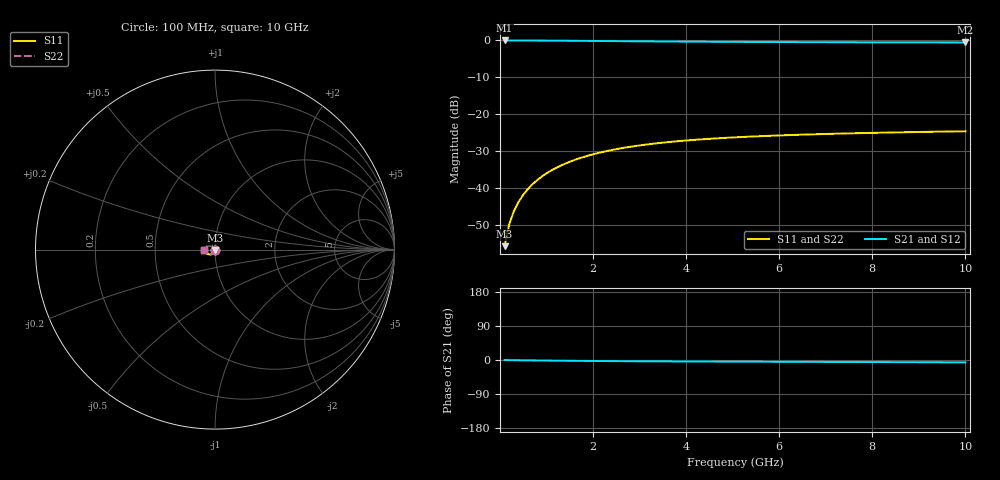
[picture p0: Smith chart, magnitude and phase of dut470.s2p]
! Touchstone file exported from HFSS 2024.1.0
!  File:  C:/UserFiles/LocalFiles/RDL_TSV_Batchsim/temp_TSV1_470_1779698374.aedt
!  Generated:  04:45:05 PM May 25, 2026
!  Design:  TSV1
!  Project:  temp_TSV1_470_1779698374
!  Setup:  Setup1
!  Solution:  Sweep
! Variables:
!  dtsv = 11.05um
!  hbump = 3um
!  htsv = 97.65um
!  lrdl = 252.1521522um
!  p = 40
!  p1 = 50.42um
!  t = 500um
!  trdl = 3um
!  wrdl = 24.89489489um
# GHz S MA R 50.000000
! Terminal data exported
! Port[1] = TSV22_T1
! Port[2] = TSV22_T2
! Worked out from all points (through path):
!   100 points, 100 MHz to 10 GHz, reference 50 ohm
!   highest |S21| = 0.00 dB at 100 MHz (marker M1); lowest = -0.5 dB at 10 GHz (marker M2)
!   lowest |S11| = -55.7 dB at 100 MHz (marker M3), VSWR 1.00, Z = 50 - j0.164 ohm
!   |S11| at or under -10 dB: start of sweep to end of sweep
!   |S22| runs from -55.7 to -24.6 dB; largest |S21 - S12| = 4.1e-15
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0.1  0.001639 -87.0  0.9998 -0.2  0.9998 -0.2  0.001639 -87.0
! Gamma 0 0 0 0
! Port Impedance 50 0 50 0
0.2  0.00327 -91.0  0.9996 -0.3  0.9996 -0.3  0.00327 -91.0
0.3  0.0049 -93.5  0.9994 -0.5  0.9994 -0.5  0.0049 -93.5
0.4  0.006523 -95.6  0.999 -0.6  0.999 -0.6  0.006523 -95.6
0.5  0.008134 -97.6  0.9985 -0.8  0.9985 -0.8  0.008134 -97.6
0.6  0.009729 -99.5  0.998 -0.9  0.998 -0.9  0.009729 -99.5
0.7  0.0113 -101.3  0.9974 -1.0  0.9974 -1.0  0.0113 -101.3
0.8  0.01285 -103.1  0.9967 -1.2  0.9967 -1.2  0.01285 -103.1
0.9  0.01437 -104.9  0.9959 -1.3  0.9959 -1.3  0.01437 -104.9
1.1  0.01732 -108.3  0.9942 -1.6  0.9942 -1.6  0.01732 -108.3
1.4  0.02147 -113.2  0.9912 -2.0  0.9912 -2.0  0.02147 -113.2
1.6  0.02405 -116.3  0.9891 -2.2  0.9891 -2.2  0.02405 -116.3
1.8  0.02647 -119.3  0.9869 -2.4  0.9869 -2.4  0.02647 -119.3
2.1  0.02981 -123.5  0.9834 -2.7  0.9834 -2.7  0.02981 -123.5
2.5  0.03375 -128.7  0.9789 -3.0  0.9789 -3.0  0.03375 -128.7
2.9  0.03713 -133.3  0.9746 -3.3  0.9746 -3.3  0.03713 -133.3
3.4  0.0407 -138.6  0.9696 -3.6  0.9696 -3.6  0.0407 -138.6
4.2  0.04518 -145.8  0.9627 -4.0  0.9627 -4.0  0.04518 -145.8
5.1  0.04893 -152.6  0.9566 -4.3  0.9566 -4.3  0.04893 -152.6
6.7  0.05351 -162.2  0.9487 -4.9  0.9487 -4.9  0.05351 -162.2
8.4  0.05673 -170.2  0.9432 -5.5  0.9432 -5.5  0.05673 -170.2
10  0.05895 -176.4  0.9397 -6.1  0.9397 -6.1  0.05895 -176.4
